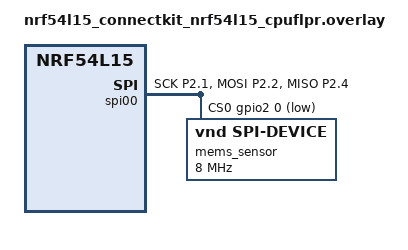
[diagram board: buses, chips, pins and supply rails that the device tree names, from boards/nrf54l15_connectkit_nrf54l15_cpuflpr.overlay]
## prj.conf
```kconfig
CONFIG_CONSOLE=n
CONFIG_UART_CONSOLE=n
CONFIG_PRINTK=n
CONFIG_STDOUT_CONSOLE=n
CONFIG_EARLY_CONSOLE=n
CONFIG_BOOT_BANNER=n
CONFIG_NCS_BOOT_BANNER=n

CONFIG_MBOX=y
CONFIG_IPC_SERVICE=y
CONFIG_IPC_SERVICE_BACKEND_ICMSG=y
CONFIG_ASSERT=y

CONFIG_SPI=y
CONFIG_GPIO=y

CONFIG_MAIN_STACK_SIZE=4096
CONFIG_SYSTEM_WORKQUEUE_STACK_SIZE=2048
CONFIG_IPC_SERVICE_BACKEND_ICMSG_WQ_STACK_SIZE=2048
CONFIG_PBUF_RX_READ_BUF_SIZE=256
```

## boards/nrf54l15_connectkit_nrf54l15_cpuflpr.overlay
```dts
/ {
	soc {
		reserved-memory {
			#address-cells = <1>;
			#size-cells = <1>;

			sram_tx: memory@20018000 {
				reg = <0x20018000 0x0800>;
			};

			sram_rx: memory@20020000 {
				reg = <0x20020000 0x0800>;
			};

			rf_link_lp_trace_mem: memory@20020800 {
				reg = <0x20020800 0x0100>;
			};
		};
	};

	ipc {
		ipc0: ipc0 {
			compatible = "zephyr,ipc-icmsg";
			dcache-alignment = <32>;
			tx-region = <&sram_tx>;
			rx-region = <&sram_rx>;
			mboxes = <&cpuflpr_vevif_rx 21>, <&cpuflpr_vevif_tx 20>;
			mbox-names = "rx", "tx";
			status = "okay";
		};
	};
};

&cpuflpr_vevif_rx {
	status = "okay";
};

&cpuflpr_vevif_tx {
	status = "okay";
};

&pinctrl {
	spi00_default: spi00_default {
		group1 {
			psels = <NRF_PSEL(SPIM_SCK, 2, 1)>,
				<NRF_PSEL(SPIM_MOSI, 2, 2)>,
				<NRF_PSEL(SPIM_MISO, 2, 4)>;
		};
	};
};

&gpio2 {
	status = "okay";
};

&uart30 {
	status = "disabled";
};

/*
 * IIM-42352 3-axis accelerometer on SPIM00 (dedicated P2 pins)
 * CLK:  P2.01
 * MOSI: P2.02
 * MISO: P2.04
 * CS:   P2.00 (driver-managed, active-low)
 */
&spi00 {
	compatible = "nordic,nrf-spim";
	status = "okay";
	pinctrl-0 = <&spi00_default>;
	pinctrl-names = "default";
	cs-gpios = <&gpio2 0 GPIO_ACTIVE_LOW>;

	mems_sensor: iim42352@0 {
		compatible = "vnd,spi-device";
		reg = <0>;
		spi-max-frequency = <8000000>;
	};
};
```

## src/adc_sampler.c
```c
#include "adc_sampler.h"
#include "lp_trace.h"

#include <zephyr/kernel.h>
#include <zephyr/device.h>
#include <zephyr/devicetree.h>
#include <zephyr/drivers/spi.h>
#include <zephyr/drivers/gpio.h>
#include <string.h>
#include <stdbool.h>

#include "proto.h"

/* ---------- IIM-42352 register definitions ---------- */
#define IIM42352_REG_INT_CONFIG     0x14u
#define IIM42352_REG_FIFO_CONFIG    0x16u
#define IIM42352_REG_ACCEL_DATA_X1  0x1Fu
#define IIM42352_REG_INT_STATUS     0x2Du
#define IIM42352_REG_FIFO_COUNTH    0x2Eu
#define IIM42352_REG_FIFO_COUNTL    0x2Fu
#define IIM42352_REG_FIFO_DATA      0x30u
#define IIM42352_REG_SIGNAL_PATH_RESET 0x4Bu
#define IIM42352_REG_INTF_CONFIG0   0x4Cu
#define IIM42352_REG_PWR_MGMT0      0x4Eu
#define IIM42352_REG_ACCEL_CONFIG0  0x50u
#define IIM42352_REG_FIFO_CONFIG1   0x5Fu
#define IIM42352_REG_FIFO_CONFIG2   0x60u
#define IIM42352_REG_FIFO_CONFIG3   0x61u
#define IIM42352_REG_INT_SOURCE0    0x65u
#define IIM42352_REG_WHO_AM_I       0x75u

#define IIM42352_WHO_AM_I_VAL     0x6D
#define IIM42352_SPI_READ         0x80

/* ---------- FIFO constants ---------- */
#define FIFO_WM_PACKETS    128u   /* half of 2048-byte FIFO */
#define FIFO_PACKET_SIZE   8u    /* 1 header + 6 accel + 1 temp = 8 bytes */
/* FIFO_WM valid range: 1 <= WM <= 4095; do NOT set to 0 (datasheet requirement) */
#define FIFO_WM_BYTES      (FIFO_WM_PACKETS * FIFO_PACKET_SIZE)  /* 128 */
#define FIFO_MAX_PACKETS   32u
#define FIFO_MAX_BYTES     (FIFO_MAX_PACKETS * FIFO_PACKET_SIZE)  /* 256 */

/* SPI operation flags: Mode 3 (CPOL=1, CPHA=1), 8-bit, MSB first */
#define SPI_OP (SPI_WORD_SET(8) | SPI_MODE_CPOL | SPI_MODE_CPHA | SPI_TRANSFER_MSB)

/* Get SPI device spec from device tree */
static const struct spi_dt_spec mems_spi =
	SPI_DT_SPEC_GET(DT_NODELABEL(mems_sensor), SPI_OP, 0);

/* ---------- INT1 GPIO: P0.02 on gpio0, falling edge ---------- */
#define INT1_PORT  DEVICE_DT_GET(DT_NODELABEL(gpio0))
#define INT1_PIN   2

static struct gpio_callback gpio_cb;

/* ---------- Ring buffer: 4 frames × 96 samples = 384 int16_t ---------- */
#define RING_BUF_SIZE 384

static int16_t ring_buf[RING_BUF_SIZE];
static uint32_t ring_head;  /* write position */
static uint32_t ring_tail;  /* read position */
static uint32_t ring_count; /* valid sample count */

/* ---------- Semaphore ---------- */
static struct k_sem data_sem;

/* ---------- Work queue ---------- */
static struct k_work fifo_work;

/* ---------- Sequence counter ---------- */
static uint16_t seq;

/* ================================================================
 * SPI register access helpers
 * ================================================================ */

/**
 * Read a single register from IIM42352.
 * Returns 0 on success, negative errno on failure.
 */
static int iim42352_read_reg(uint8_t reg, uint8_t *val)
{
	uint8_t tx_buf[2] = { reg | IIM42352_SPI_READ, 0x00 };
	uint8_t rx_buf[2] = { 0 };

	const struct spi_buf tx = { .buf = tx_buf, .len = 2 };
	const struct spi_buf rx = { .buf = rx_buf, .len = 2 };
	const struct spi_buf_set tx_set = { .buffers = &tx, .count = 1 };
	const struct spi_buf_set rx_set = { .buffers = &rx, .count = 1 };

	int ret = spi_transceive_dt(&mems_spi, &tx_set, &rx_set);
	if (ret == 0) {
		*val = rx_buf[1];
	}
	return ret;
}

/**
 * Write a single register to IIM42352.
 */
static int iim42352_write_reg(uint8_t reg, uint8_t val)
{
	uint8_t tx_buf[2] = { reg & 0x7F, val };

	const struct spi_buf tx = { .buf = tx_buf, .len = 2 };
	const struct spi_buf_set tx_set = { .buffers = &tx, .count = 1 };

	return spi_write_dt(&mems_spi, &tx_set);
}

/**
 * Burst-read up to 'len' bytes from FIFO_DATA register.
 * SPI transaction:
 *   tx: [FIFO_DATA | READ] [len dummy 0x00 bytes]
 *   rx: [dummy]            [len data bytes]
 * The first rx byte is dummy and skipped; the remaining 'len' bytes
 * are copied into 'buf'.
 * Returns 0 on success, negative errno on failure.
 */
static int iim42352_fifo_burst_read(uint8_t *buf, uint16_t len)
{
	static uint8_t tx_buf[1 + FIFO_MAX_BYTES];
	static uint8_t rx_buf[1 + FIFO_MAX_BYTES];

	if (len == 0u || len > FIFO_MAX_BYTES) {
		return -EINVAL;
	}

	tx_buf[0] = IIM42352_REG_FIFO_DATA | IIM42352_SPI_READ;
	for (uint16_t i = 1u; i <= len; i++) {
		tx_buf[i] = 0x00;
	}

	const struct spi_buf tx = { .buf = tx_buf, .len = (size_t)(len + 1u) };
	const struct spi_buf rx = { .buf = rx_buf, .len = (size_t)(len + 1u) };
	const struct spi_buf_set tx_set = { .buffers = &tx, .count = 1 };
	const struct spi_buf_set rx_set = { .buffers = &rx, .count = 1 };

	int ret = spi_transceive_dt(&mems_spi, &tx_set, &rx_set);
	if (ret == 0) {
		memcpy(buf, &rx_buf[1], len);
	}
	return ret;
}

/* ================================================================
 * Ring buffer helpers
 * ================================================================ */

static void ring_put(int16_t sample)
{
	if (ring_count < RING_BUF_SIZE) {
		ring_buf[ring_head] = sample;
		ring_head = (ring_head + 1u) % RING_BUF_SIZE;
		ring_count++;
	} else {
		/* Overwrite oldest: advance tail */
		ring_buf[ring_head] = sample;
		ring_head = (ring_head + 1u) % RING_BUF_SIZE;
		ring_tail = (ring_tail + 1u) % RING_BUF_SIZE;
	}
}

static int16_t ring_get(void)
{
	if (ring_count == 0) {
		return 0;
	}
	int16_t val = ring_buf[ring_tail];
	ring_tail = (ring_tail + 1u) % RING_BUF_SIZE;
	ring_count--;
	return val;
}

/* ================================================================
 * FIFO work handler – runs in system work queue context
 * Triggered by FIFO watermark interrupt; drains all complete packets.
 * ================================================================ */

static void fifo_work_handler(struct k_work *work)
{
	ARG_UNUSED(work);
	int ret;

	/* Read INT_STATUS to clear interrupt flag */
	uint8_t int_status = 0;
	ret = iim42352_read_reg(IIM42352_REG_INT_STATUS, &int_status);
	if (ret != 0) {
		rf_link_lp_trace_note_fatal(0x20);
		return;
	}
	/* Always proceed to read FIFO regardless of interrupt source.
	 * If FIFO has data, we should read it. FIFO_COUNT will be 0
	 * if there's nothing to read, which is handled below. */

	/* 2. Read FIFO byte count (high then low) */
	uint8_t cnt_h = 0;
	uint8_t cnt_l = 0;
	ret = iim42352_read_reg(IIM42352_REG_FIFO_COUNTH, &cnt_h);
	if (ret != 0) {
		rf_link_lp_trace_note_fatal(0x21);
		return;
	}
	ret = iim42352_read_reg(IIM42352_REG_FIFO_COUNTL, &cnt_l);
	if (ret != 0) {
		rf_link_lp_trace_note_fatal(0x22);
		return;
	}
	uint16_t fifo_bytes = ((uint16_t)cnt_h << 8) | cnt_l;

	/* Sanity check: byte count must be packet-aligned and within FIFO depth */
	if (fifo_bytes > 2048u) {
		rf_link_lp_trace_note_fatal(0x25);
		return;
	}

	if ((fifo_bytes % FIFO_PACKET_SIZE) != 0u) {
		/* Misaligned FIFO data, flush by reading and discarding */
		return;
	}

	/* 3. Calculate complete packets, cap to buffer size */
	uint16_t packets = fifo_bytes / FIFO_PACKET_SIZE;
	if (packets == 0u) {
		return;
	}
	if (packets > FIFO_MAX_PACKETS) {
		packets = FIFO_MAX_PACKETS;
	}
	uint16_t read_bytes = packets * FIFO_PACKET_SIZE;

	/* 4. Burst read FIFO data */
	static uint8_t fifo_data[FIFO_MAX_BYTES];
	ret = iim42352_fifo_burst_read(fifo_data, read_bytes);
	if (ret != 0) {
		rf_link_lp_trace_note_fatal(0x24);
		return;
	}

	/* 5. Parse each 8-byte packet */
	for (uint16_t i = 0; i < packets; i++) {
		uint8_t *pkt = &fifo_data[i * FIFO_PACKET_SIZE];

		/* Header check: bit6 = 1 means accel data valid (Packet1) */
		if ((pkt[0] & 0x40u) == 0u) {
			continue; /* skip invalid/empty packet */
		}

		/* Extract 3-axis accel data (MSB first) */
		int16_t accel_x = (int16_t)((uint16_t)pkt[1] << 8 | pkt[2]);
		int16_t accel_y = (int16_t)((uint16_t)pkt[3] << 8 | pkt[4]);
		int16_t accel_z = (int16_t)((uint16_t)pkt[5] << 8 | pkt[6]);
		/* pkt[7] = temperature byte, ignored */

		ring_put(accel_x);
		ring_put(accel_y);
		ring_put(accel_z);
		k_sem_give(&data_sem);
	}
}

/* ================================================================
 * GPIO ISR callback
 * ================================================================ */

static void gpio_isr_callback(const struct device *port,
			       struct gpio_callback *cb,
			       uint32_t pins)
{
	ARG_UNUSED(port);
	ARG_UNUSED(cb);
	ARG_UNUSED(pins);

	k_work_submit(&fifo_work);
}

/* ================================================================
 * Public API
 * ================================================================ */

void adc_sampler_init(void)
{
	seq = 0;
	ring_head = 0;
	ring_tail = 0;
	ring_count = 0;

	k_sem_init(&data_sem, 0, 128);
	k_work_init(&fifo_work, fifo_work_handler);

	/* ---- Check SPI bus ready ---- */
	if (!spi_is_ready_dt(&mems_spi)) {
		rf_link_lp_trace_note_fatal(0x03);
		return;
	}

	/* ---- Read WHO_AM_I ---- */
	uint8_t who_am_i = 0;
	if (iim42352_read_reg(IIM42352_REG_WHO_AM_I, &who_am_i) != 0) {
		rf_link_lp_trace_note_fatal(0x04);
		return;
	}
	if (who_am_i != IIM42352_WHO_AM_I_VAL) {
		rf_link_lp_trace_note_fatal(0x05 | ((uint32_t)who_am_i << 8));
		return;
	}

	/* ---- 1. Configure INT1: push-pull, active-low, pulsed ---- */
	if (iim42352_write_reg(IIM42352_REG_INT_CONFIG, 0x02) != 0) {
		rf_link_lp_trace_note_fatal(0x11);
		return;
	}

	/* ---- 2. Flush FIFO via SIGNAL_PATH_RESET ---- */
	/* bit1 = FIFO_FLUSH: write 1 to flush, auto-clears */
	if (iim42352_write_reg(IIM42352_REG_SIGNAL_PATH_RESET, 0x02) != 0) {
		rf_link_lp_trace_note_fatal(0x38);
		return;
	}
	k_sleep(K_MSEC(1));  /* brief wait for flush to complete */

	/* ---- 3. INTF_CONFIG0: ensure FIFO counts in bytes ---- */
	/* Read-modify-write: clear bit6 (FIFO_COUNT_REC = 0 -> byte mode) */
	uint8_t intf_cfg = 0;
	if (iim42352_read_reg(IIM42352_REG_INTF_CONFIG0, &intf_cfg) != 0) {
		rf_link_lp_trace_note_fatal(0x30);
		return;
	}
	intf_cfg &= ~(1u << 6);
	if (iim42352_write_reg(IIM42352_REG_INTF_CONFIG0, intf_cfg) != 0) {
		rf_link_lp_trace_note_fatal(0x31);
		return;
	}

	/* ---- 4. FIFO_CONFIG: STREAM mode ---- */
	/* bits[7:6] = 01 -> continuous fill, new data overwrites oldest */
	if (iim42352_write_reg(IIM42352_REG_FIFO_CONFIG, 0x40) != 0) {
		rf_link_lp_trace_note_fatal(0x35);
		return;
	}

	/* ---- 5. FIFO_CONFIG1: enable Packet1 (accel data into FIFO) ---- */
	/* bit[1:0] = 01 = Packet1; bit4(HIRES)=0, bit3(TMST)=0, bit2(TEMP)=0 */
	if (iim42352_write_reg(IIM42352_REG_FIFO_CONFIG1, 0x01) != 0) {
		rf_link_lp_trace_note_fatal(0x32);
		return;
	}

	/* ---- 6. FIFO watermark: 128 bytes = 16 packets x 8 bytes ---- */
	if (iim42352_write_reg(IIM42352_REG_FIFO_CONFIG2,
			       (uint8_t)(FIFO_WM_BYTES & 0xFFu)) != 0) {
		rf_link_lp_trace_note_fatal(0x33);
		return;
	}
	if (iim42352_write_reg(IIM42352_REG_FIFO_CONFIG3,
			       (uint8_t)((FIFO_WM_BYTES >> 8) & 0x0Fu)) != 0) {
		rf_link_lp_trace_note_fatal(0x34);
		return;
	}

	/* ---- 7. Accel config: 4 kHz ODR, ±16 g ---- */
	if (iim42352_write_reg(IIM42352_REG_ACCEL_CONFIG0, 0x04) != 0) {
		rf_link_lp_trace_note_fatal(0x13);
		return;
	}

	/* ---- 8. Power on: accel low-noise mode ---- */
	/* PWR_MGMT0 MUST come after all FIFO configuration (datasheet 13.6) */
	if (iim42352_write_reg(IIM42352_REG_PWR_MGMT0, 0x03) != 0) {
		rf_link_lp_trace_note_fatal(0x09);
		return;
	}

	/* Wait for sensor to stabilise after power-on */
	k_sleep(K_MSEC(30));

	/* ---- 9. INT_SOURCE0: route FIFO watermark interrupt to INT1 ---- */
	/* bit[2] = FIFO_THS_INT1_EN — enable after sensor is running */
	if (iim42352_write_reg(IIM42352_REG_INT_SOURCE0, 0x04) != 0) {
		rf_link_lp_trace_note_fatal(0x12);
		return;
	}

	/* Verify INT_SOURCE0 was written correctly */
	uint8_t int_src_verify = 0;
	if (iim42352_read_reg(IIM42352_REG_INT_SOURCE0, &int_src_verify) != 0) {
		rf_link_lp_trace_note_fatal(0x36);
		return;
	}
	if (int_src_verify != 0x04u) {
		rf_link_lp_trace_note_fatal(0x37);
		return;
	}

	/* ---- 10. Clear any pending interrupts before enabling GPIO ---- */
	{
		uint8_t dummy_status = 0;
		iim42352_read_reg(IIM42352_REG_INT_STATUS, &dummy_status);
	}

	/* ---- Configure INT1 GPIO interrupt (P0.02, falling edge) ---- */
	if (!device_is_ready(INT1_PORT)) {
		rf_link_lp_trace_note_fatal(0x14);
		return;
	}

	if (gpio_pin_configure(INT1_PORT, INT1_PIN, GPIO_INPUT) != 0) {
		rf_link_lp_trace_note_fatal(0x15);
		return;
	}

	if (gpio_pin_interrupt_configure(INT1_PORT, INT1_PIN,
					 GPIO_INT_EDGE_FALLING) != 0) {
		rf_link_lp_trace_note_fatal(0x16);
		return;
	}

	gpio_init_callback(&gpio_cb, gpio_isr_callback, BIT(INT1_PIN));
	if (gpio_add_callback(INT1_PORT, &gpio_cb) != 0) {
		rf_link_lp_trace_note_fatal(0x17);
		return;
	}

	/* ---- Diagnostic: direct accel register read ---- */
	{
		uint8_t tx_diag[7];
		uint8_t rx_diag[7];
		tx_diag[0] = 0x1Fu | 0x80u;  /* ACCEL_DATA_X1 | READ */
		for (int i = 1; i < 7; i++) tx_diag[i] = 0x00u;

		const struct spi_buf tx_d = { .buf = tx_diag, .len = 7 };
		const struct spi_buf rx_d = { .buf = rx_diag, .len = 7 };
		const struct spi_buf_set tx_ds = { .buffers = &tx_d, .count = 1 };
		const struct spi_buf_set rx_ds = { .buffers = &rx_d, .count = 1 };

		if (spi_transceive_dt(&mems_spi, &tx_ds, &rx_ds) == 0) {
			/* Report accel X high byte via trace (non-zero = sensor working) */
			rf_link_lp_trace_note_loop(0xA000u | ((uint16_t)rx_diag[1] << 4) | (rx_diag[2] >> 4));
		}
	}

	/* ---- Diagnostic: check FIFO is filling ---- */
	{
		k_sleep(K_MSEC(50));  /* Wait 50ms for FIFO to accumulate data */

		uint8_t cnt_h = 0, cnt_l = 0;
		iim42352_read_reg(IIM42352_REG_FIFO_COUNTH, &cnt_h);
		iim42352_read_reg(IIM42352_REG_FIFO_COUNTL, &cnt_l);
		uint16_t diag_fifo_bytes = ((uint16_t)cnt_h << 8) | cnt_l;

		/* Report FIFO byte count via trace */
		/* 0xB000 | fifo_bytes: if 0 = FIFO not filling (problem!) */
		/* if > 0 = FIFO is working */
		rf_link_lp_trace_note_loop(0xB000u | (diag_fifo_bytes & 0xFFFu));
	}

	/* ---- Diagnostic: read first FIFO packet to check header ---- */
	{
		uint8_t cnt_h2 = 0, cnt_l2 = 0;
		iim42352_read_reg(IIM42352_REG_FIFO_COUNTH, &cnt_h2);
		iim42352_read_reg(IIM42352_REG_FIFO_COUNTL, &cnt_l2);
		uint16_t fifo_avail = ((uint16_t)cnt_h2 << 8) | cnt_l2;

		if (fifo_avail >= FIFO_PACKET_SIZE) {
			uint8_t test_pkt[8] = {0};
			iim42352_fifo_burst_read(test_pkt, FIFO_PACKET_SIZE);

			/* Report: 0xC0HH where HH = header byte value */
			/* Expected: 0xC040 if header = 0x40 (Packet1 with accel) */
			rf_link_lp_trace_note_loop(0xC000u | test_pkt[0]);

			/* Report: 0xD0XX where XX = first accel byte (should be non-zero) */
			rf_link_lp_trace_note_loop(0xD000u | ((uint16_t)test_pkt[1] << 4) | (test_pkt[2] >> 4));
		} else {
			/* FIFO still empty after 50ms - report this */
			rf_link_lp_trace_note_loop(0xE000u);
		}
	}
}

void adc_sampler_fill_frame(struct rf_frame *frame)
{
	if (frame == NULL) {
		return;
	}

	frame->magic = RF_LINK_MAGIC;
	frame->seq = seq++;
	frame->flags = 0;
	frame->timestamp_ms = k_uptime_get_32();

	/* Wait for 32 groups (32 × 3 = 96 samples) via semaphore.
	 * Each FIFO watermark interrupt produces ~16 groups (packets).
	 * Timeout 16 ms per take: if data is not ready in time,
	 * use whatever we have and zero-fill the rest.
	 */
	uint32_t groups_needed = RF_LINK_FRAME_SAMPLE_COUNT / 3u; /* 32 */
	uint32_t groups_got = 0;

	for (uint32_t i = 0; i < groups_needed; i++) {
		if (k_sem_take(&data_sem, K_MSEC(16)) == 0) {
			groups_got++;
		} else {
			/* Timeout: stop waiting, use what we have */
			break;
		}
	}

	/* Read available samples from ring buffer (up to groups_got × 3) */
	uint32_t samples_available = groups_got * 3u;
	if (samples_available > ring_count) {
		samples_available = ring_count;
	}

	for (uint32_t i = 0; i < samples_available; i++) {
		frame->samples[i] = ring_get();
	}

	/* Polling fallback: DISABLED for testing
	if (samples_available == 0) {
		uint8_t tx_buf[7] = { IIM42352_REG_ACCEL_DATA_X1 | IIM42352_SPI_READ };
		uint8_t rx_buf[7] = { 0 };
		const struct spi_buf tx = { .buf = tx_buf, .len = 7 };
		const struct spi_buf rx = { .buf = rx_buf, .len = 7 };
		const struct spi_buf_set tx_set = { .buffers = &tx, .count = 1 };
		const struct spi_buf_set rx_set = { .buffers = &rx, .count = 1 };

		if (spi_transceive_dt(&mems_spi, &tx_set, &rx_set) == 0) {
			frame->samples[0] = (int16_t)((uint16_t)rx_buf[1] << 8 | rx_buf[2]);
			frame->samples[1] = (int16_t)((uint16_t)rx_buf[3] << 8 | rx_buf[4]);
			frame->samples[2] = (int16_t)((uint16_t)rx_buf[5] << 8 | rx_buf[6]);
			samples_available = 3;
		}
	}
	*/

	/* Zero-fill remaining slots */
	for (uint32_t i = samples_available; i < RF_LINK_FRAME_SAMPLE_COUNT; i++) {
		frame->samples[i] = 0;
	}

	frame->sample_count = (uint16_t)samples_available;
}
```
